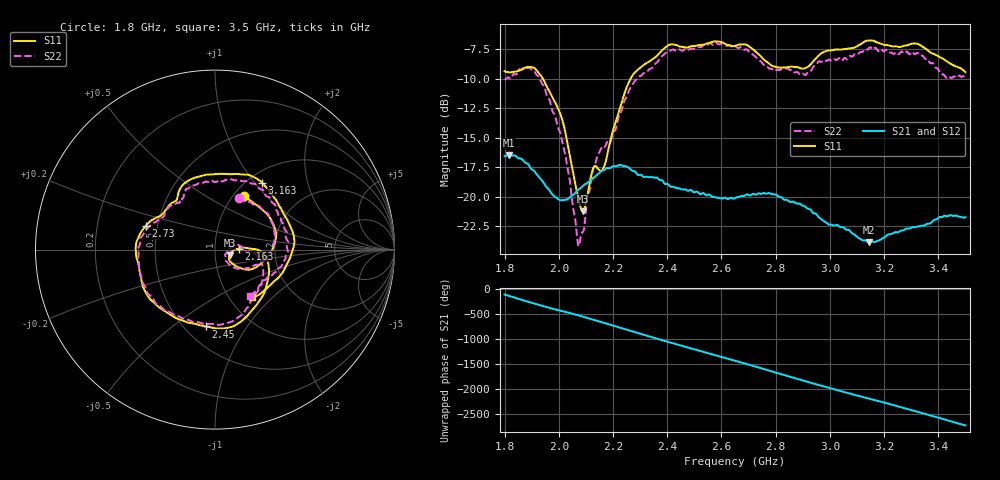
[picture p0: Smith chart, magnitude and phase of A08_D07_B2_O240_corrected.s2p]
! Created with skrf 1.9.0 (http://scikit-rf.org).
# Hz S RI R 50.0
!freq ReS11 ImS11 ReS21 ImS21 ReS12 ImS12 ReS22 ImS22
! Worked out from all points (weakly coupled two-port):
!   1601 points, 1.8 GHz to 3.5 GHz, reference 50 ohm
!   highest |S21| = -16.47 dB at 1.816 GHz (marker M1); lowest = -23.8 dB at 3.143 GHz (marker M2)
!   lowest |S11| = -21.2 dB at 2.089 GHz (marker M3), VSWR 1.19, Z = 58.7 - j3.79 ohm
!   |S11| at or under -10 dB: 1.941 GHz to 2.265 GHz (323.7 MHz wide, 15.4 % of centre)
!   |S22| runs from -24.2 to -7.0 dB; largest |S21 - S12| = 0.0029
!   S11 on the Smith chart (normalised r, x): 1.8 GHz: 1.12, +0.76; 2.163 GHz: 1.30, +0.01; 2.45 GHz: 0.63, -0.66; 2.73 GHz: 0.43, +0.14; 3.163 GHz: 1.16, +1.09; 3.5 GHz: 1.27, -0.76
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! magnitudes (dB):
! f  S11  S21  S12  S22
! 1.8 GHz  -9.4  -16.6  -16.6  -10.0
! 1.816 GHz  -9.5  -16.5  -16.5  -9.9
! 1.88 GHz  -9.0  -17.2  -17.2  -9.1
! 1.943 GHz  -10.1  -18.8  -18.8  -10.6
! 2.013 GHz  -13.5  -20.3  -20.3  -15.3
! 2.069 GHz  -19.8  -19.5  -19.5  -23.7
! 2.084 GHz  -21.1  -19.2  -19.2  -23.1
! 2.089 GHz  -21.2  -19.1  -19.1  -23.0
! 2.127 GHz  -17.6  -18.4  -18.4  -17.6
! 2.163 GHz  -17.6  -17.8  -17.7  -15.7
! 2.261 GHz  -10.2  -17.6  -17.6  -10.9
! 2.367 GHz  -7.9  -18.5  -18.4  -8.5
! 2.45 GHz  -7.3  -19.3  -19.3  -7.6
! 2.65 GHz  -7.2  -20.1  -20.1  -7.3
! 2.73 GHz  -7.8  -19.8  -19.8  -8.3
! 2.808 GHz  -9.1  -19.9  -19.9  -9.3
! 2.934 GHz  -8.7  -21.2  -21.2  -9.2
! 3.143 GHz  -6.8  -23.8  -23.8  -7.4
! 3.163 GHz  -6.8  -23.8  -23.8  -7.5
! 3.217 GHz  -7.2  -23.2  -23.2  -7.8
! 3.326 GHz  -7.1  -22.5  -22.5  -7.9
! 3.5 GHz  -9.5  -21.7  -21.7  -9.8
